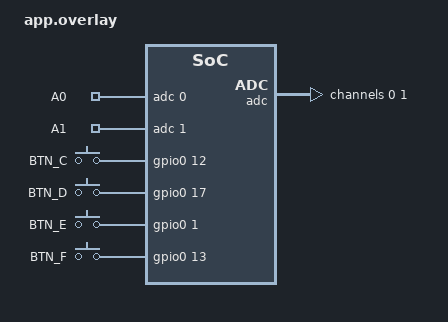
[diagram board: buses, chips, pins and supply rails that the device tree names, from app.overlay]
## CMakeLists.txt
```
#
# Copyright (c) 2018 Nordic Semiconductor
#
# SPDX-License-Identifier: LicenseRef-Nordic-5-Clause
#

cmake_minimum_required(VERSION 3.20.0)

find_package(Zephyr REQUIRED HINTS $ENV{ZEPHYR_BASE})
project(peripheral_uart)

# NORDIC SDK APP START
target_sources(app PRIVATE
  src/main.c
)
# NORDIC SDK APP END

zephyr_library_include_directories(.)
```

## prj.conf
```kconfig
#
# Copyright (c) 2018 Nordic Semiconductor
#
# SPDX-License-Identifier: LicenseRef-Nordic-5-Clause
#

# Enable the UART driver
CONFIG_UART_ASYNC_API=y
CONFIG_NRFX_UARTE0=y
CONFIG_SERIAL=y

CONFIG_GPIO=y

# Make sure printk is printing to the UART console
CONFIG_CONSOLE=y
CONFIG_UART_CONSOLE=y

CONFIG_HEAP_MEM_POOL_SIZE=2048

CONFIG_BT=y
CONFIG_BT_PERIPHERAL=y
CONFIG_BT_DEVICE_NAME="Nordic_UART_Service"
CONFIG_BT_MAX_CONN=1
CONFIG_BT_MAX_PAIRED=1

# Enable the NUS service
CONFIG_BT_NUS=y

# Enable bonding
CONFIG_BT_SETTINGS=y
CONFIG_FLASH=y
CONFIG_FLASH_PAGE_LAYOUT=y
CONFIG_FLASH_MAP=y
CONFIG_NVS=y
CONFIG_SETTINGS=y

# Enable DK LED and Buttons library
CONFIG_DK_LIBRARY=y

# This example requires more stack
CONFIG_MAIN_STACK_SIZE=1152
CONFIG_SYSTEM_WORKQUEUE_STACK_SIZE=2048

# Config logger
CONFIG_LOG=y
CONFIG_USE_SEGGER_RTT=y
CONFIG_LOG_BACKEND_RTT=y
CONFIG_LOG_BACKEND_UART=n
CONFIG_LOG_PRINTK=n

CONFIG_ASSERT=y

CONFIG_ADC=y
```

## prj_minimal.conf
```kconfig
#
# Copyright (c) 2021 Nordic Semiconductor
#
# SPDX-License-Identifier: LicenseRef-Nordic-5-Clause
#

# Enable the UART driver
CONFIG_UART_ASYNC_API=y
CONFIG_NRFX_UARTE0=y
CONFIG_SERIAL=y

CONFIG_HEAP_MEM_POOL_SIZE=2048

CONFIG_BT=y
CONFIG_BT_PERIPHERAL=y
CONFIG_BT_DEVICE_NAME="Nordic_UART_Service"
CONFIG_BT_DEVICE_APPEARANCE=833
CONFIG_BT_MAX_CONN=1
CONFIG_BT_MAX_PAIRED=1

# Enable the NUS service
CONFIG_BT_NUS=y

# Enable bonding
CONFIG_BT_SETTINGS=y
CONFIG_FLASH=y
CONFIG_FLASH_PAGE_LAYOUT=y
CONFIG_FLASH_MAP=y
CONFIG_NVS=y
CONFIG_SETTINGS=y

# Enable DK LED and Buttons library
CONFIG_DK_LIBRARY=y

# Drivers and peripherals
CONFIG_I2C=n
CONFIG_WATCHDOG=n
CONFIG_SPI=n
CONFIG_GPIO=n

# Power management

# Interrupts
CONFIG_DYNAMIC_INTERRUPTS=n
CONFIG_IRQ_OFFLOAD=n

# Memory protection
CONFIG_THREAD_STACK_INFO=n
CONFIG_THREAD_CUSTOM_DATA=n
CONFIG_FPU=n

# Boot
CONFIG_BOOT_BANNER=n
CONFIG_BOOT_DELAY=0

# Console
CONFIG_CONSOLE=n
CONFIG_UART_CONSOLE=n
CONFIG_STDOUT_CONSOLE=n
CONFIG_PRINTK=n
CONFIG_EARLY_CONSOLE=n

# Build
CONFIG_SIZE_OPTIMIZATIONS=y

# ARM
CONFIG_ARM_MPU=n

# Enable the following configurations to monitor and tune thread stack sizes
# CONFIG_THREAD_NAME=y
# CONFIG_THREAD_ANALYZER=y
# CONFIG_THREAD_ANALYZER_AUTO=y
# CONFIG_THREAD_ANALYZER_RUN_UNLOCKED=y
# CONFIG_THREAD_ANALYZER_USE_PRINTK=y
# CONFIG_CONSOLE=y
# CONFIG_UART_CONSOLE=y
# CONFIG_SERIAL=y
# CONFIG_PRINTK=y

# Thread stack sizes
CONFIG_BT_RX_STACK_SIZE=1024
CONFIG_BT_HCI_TX_STACK_SIZE_WITH_PROMPT=y
CONFIG_BT_HCI_TX_STACK_SIZE=640
CONFIG_SYSTEM_WORKQUEUE_STACK_SIZE=1536
CONFIG_MPSL_WORK_STACK_SIZE=256
CONFIG_MAIN_STACK_SIZE=864
CONFIG_IDLE_STACK_SIZE=128
CONFIG_ISR_STACK_SIZE=1024
CONFIG_BT_NUS_THREAD_STACK_SIZE=512

# Disable features not needed
CONFIG_TIMESLICING=n
CONFIG_MINIMAL_LIBC_MALLOC=n
CONFIG_LOG=n
CONFIG_ASSERT=n

# Disable Bluetooth features not needed
CONFIG_BT_DEBUG_NONE=y
CONFIG_BT_ASSERT=n
CONFIG_BT_DATA_LEN_UPDATE=n
CONFIG_BT_PHY_UPDATE=n
CONFIG_BT_GATT_CACHING=n
CONFIG_BT_GATT_SERVICE_CHANGED=n
CONFIG_BT_GAP_PERIPHERAL_PREF_PARAMS=n
CONFIG_BT_SETTINGS_CCC_LAZY_LOADING=y
CONFIG_BT_HCI_VS_EXT=n

# Disable Bluetooth controller features not needed
CONFIG_BT_CTLR_PRIVACY=n
CONFIG_BT_CTLR_PHY_2M=n

# Reduce Bluetooth buffers
CONFIG_BT_BUF_EVT_DISCARDABLE_COUNT=1
CONFIG_BT_BUF_EVT_DISCARDABLE_SIZE=43
CONFIG_BT_BUF_EVT_RX_COUNT=2

CONFIG_BT_CONN_TX_MAX=2
CONFIG_BT_L2CAP_TX_BUF_COUNT=2
CONFIG_BT_BUF_ACL_TX_COUNT=3
CONFIG_BT_BUF_ACL_TX_SIZE=27

CONFIG_ADC=y
```

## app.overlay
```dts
/*
 * Copyright (c) 2022 Nordic Semiconductor ASA
 *
 * SPDX-License-Identifier: LicenseRef-Nordic-5-Clause
 */

/ {
    chosen {
        nordic,nus-uart = &uart0;
    };

    zephyr,user {
        io-channels = <&adc 0>, <&adc 1>;
        io-channel-names = "A0", "A1";
    };

    gpio_keys {
        buttonC {
            label = "BTN_C";
            gpios = <&gpio0 12 GPIO_PULL_UP>;
            zephyr,code = <INPUT_KEY_C>;
        };

        buttonD {
            label = "BTN_D";
            gpios = <&gpio0 17 GPIO_PULL_UP>;
            zephyr,code = <INPUT_KEY_D>;
        };

        buttonE {
            label = "BTN_E";
            gpios = <&gpio0 1 GPIO_PULL_UP>;
            zephyr,code = <INPUT_KEY_E>;
        };

        buttonF {
            label = "BTN_F";
            gpios = <&gpio0 13 GPIO_PULL_UP>;
            zephyr,code = <INPUT_KEY_F>;
        };
    };
};

&adc {
    #address-cells = <1>;
    #size-cells = <0>;
    status = "okay";

    channel@0 {
        reg = <0>;
        zephyr,gain = "ADC_GAIN_1_6";
        zephyr,reference = "ADC_REF_INTERNAL";
        zephyr,acquisition-time = <ADC_ACQ_TIME_DEFAULT>;
        zephyr,input-positive = <NRF_SAADC_AIN1>;
        zephyr,resolution = <10>;
    };

    channel@1 {
        reg = <1>;
        zephyr,gain = "ADC_GAIN_1_6";
        zephyr,reference = "ADC_REF_INTERNAL";
        zephyr,acquisition-time = <ADC_ACQ_TIME_DEFAULT>;
        zephyr,input-positive = <NRF_SAADC_AIN2>;
        zephyr,resolution = <10>;
    };
};
```

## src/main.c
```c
/*
 * Copyright (c) 2018 Nordic Semiconductor ASA
 *
 * SPDX-License-Identifier: LicenseRef-Nordic-5-Clause
 */

/**
 * @file
 * @brief Nordic UART Bridge Service (NUS) sample
 */

#include <zephyr/types.h>
#include <zephyr/kernel.h>
#include <zephyr/drivers/uart.h>
#include <zephyr/usb/usb_device.h>

#include <zephyr/device.h>
#include <zephyr/devicetree.h>
#include <soc.h>

#include <zephyr/bluetooth/bluetooth.h>
#include <zephyr/bluetooth/uuid.h>
#include <zephyr/bluetooth/gatt.h>
#include <zephyr/bluetooth/hci.h>

#include <bluetooth/services/nus.h>

#include <dk_buttons_and_leds.h>

#include <zephyr/settings/settings.h>

#include <stdio.h>

#include <zephyr/logging/log.h>

#include <zephyr/drivers/adc.h>
#include <zephyr/drivers/gpio.h>

#define LOG_MODULE_NAME peripheral_uart
LOG_MODULE_REGISTER(LOG_MODULE_NAME);

#define STACKSIZE CONFIG_BT_NUS_THREAD_STACK_SIZE
#define PRIORITY 7

#define DEVICE_NAME CONFIG_BT_DEVICE_NAME
#define DEVICE_NAME_LEN (sizeof(DEVICE_NAME) - 1)

#define RUN_STATUS_LED DK_LED1
#define RUN_LED_BLINK_INTERVAL 1000

#define CON_STATUS_LED DK_LED2

#define KEY_PASSKEY_ACCEPT DK_BTN1_MSK
#define KEY_PASSKEY_REJECT DK_BTN2_MSK

#define UART_BUF_SIZE CONFIG_BT_NUS_UART_BUFFER_SIZE
#define UART_WAIT_FOR_BUF_DELAY K_MSEC(50)
#define UART_WAIT_FOR_RX CONFIG_BT_NUS_UART_RX_WAIT_TIME

static K_SEM_DEFINE(ble_init_ok, 0, 1);

static struct bt_conn *current_conn;
static struct bt_conn *auth_conn;

static const struct device *uart = DEVICE_DT_GET(DT_CHOSEN(nordic_nus_uart));
static struct k_work_delayable uart_work;

struct uart_data_t
{
    uint8_t data[UART_BUF_SIZE];
    uint16_t len;
};

static K_FIFO_DEFINE(fifo_uart_tx_data);
static K_FIFO_DEFINE(fifo_uart_rx_data);

static const struct bt_data ad[] = {
    BT_DATA_BYTES(BT_DATA_FLAGS, (BT_LE_AD_GENERAL | BT_LE_AD_NO_BREDR)),
    BT_DATA(BT_DATA_NAME_COMPLETE, DEVICE_NAME, DEVICE_NAME_LEN),
};

static const struct bt_data sd[] = {
    BT_DATA_BYTES(BT_DATA_UUID128_ALL, BT_UUID_NUS_VAL),
};

#if CONFIG_BT_NUS_UART_ASYNC_ADAPTER
UART_ASYNC_ADAPTER_INST_DEFINE(async_adapter);
#else
static const struct device *const async_adapter;
#endif

static void uart_cb(const struct device *dev, struct uart_event *evt, void *user_data)
{
    ARG_UNUSED(dev);

    static size_t aborted_len;
    struct uart_data_t *buf;
    static uint8_t *aborted_buf;
    static bool disable_req;

    switch (evt->type)
    {
    case UART_TX_DONE:
        LOG_DBG("UART_TX_DONE");
        if ((evt->data.tx.len == 0) ||
            (!evt->data.tx.buf))
        {
            return;
        }

        if (aborted_buf)
        {
            buf = CONTAINER_OF(aborted_buf, struct uart_data_t,
                               data[0]);
            aborted_buf = NULL;
            aborted_len = 0;
        }
        else
        {
            buf = CONTAINER_OF(evt->data.tx.buf, struct uart_data_t,
                               data[0]);
        }

        k_free(buf);

        buf = k_fifo_get(&fifo_uart_tx_data, K_NO_WAIT);
        if (!buf)
        {
            return;
        }

        if (uart_tx(uart, buf->data, buf->len, SYS_FOREVER_MS))
        {
            LOG_WRN("Failed to send data over UART");
        }

        break;

    case UART_RX_RDY:
        LOG_DBG("UART_RX_RDY");
        buf = CONTAINER_OF(evt->data.rx.buf, struct uart_data_t, data[0]);
        buf->len += evt->data.rx.len;

        if (disable_req)
        {
            return;
        }

        if ((evt->data.rx.buf[buf->len - 1] == '\n') ||
            (evt->data.rx.buf[buf->len - 1] == '\r'))
        {
            disable_req = true;
            uart_rx_disable(uart);
        }

        break;

    case UART_RX_DISABLED:
        LOG_DBG("UART_RX_DISABLED");
        disable_req = false;

        buf = k_malloc(sizeof(*buf));
        if (buf)
        {
            buf->len = 0;
        }
        else
        {
            LOG_WRN("Not able to allocate UART receive buffer");
            k_work_reschedule(&uart_work, UART_WAIT_FOR_BUF_DELAY);
            return;
        }

        uart_rx_enable(uart, buf->data, sizeof(buf->data),
                       UART_WAIT_FOR_RX);

        break;

    case UART_RX_BUF_REQUEST:
        LOG_DBG("UART_RX_BUF_REQUEST");
        buf = k_malloc(sizeof(*buf));
        if (buf)
        {
            buf->len = 0;
            uart_rx_buf_rsp(uart, buf->data, sizeof(buf->data));
        }
        else
        {
            LOG_WRN("Not able to allocate UART receive buffer");
        }

        break;

    case UART_RX_BUF_RELEASED:
        LOG_DBG("UART_RX_BUF_RELEASED");
        buf = CONTAINER_OF(evt->data.rx_buf.buf, struct uart_data_t,
                           data[0]);

        if (buf->len > 0)
        {
            k_fifo_put(&fifo_uart_rx_data, buf);
        }
        else
        {
            k_free(buf);
        }

        break;

    case UART_TX_ABORTED:
        LOG_DBG("UART_TX_ABORTED");
        if (!aborted_buf)
        {
            aborted_buf = (uint8_t *)evt->data.tx.buf;
        }

        aborted_len += evt->data.tx.len;
        buf = CONTAINER_OF((void *)aborted_buf, struct uart_data_t,
                           data);

        uart_tx(uart, &buf->data[aborted_len],
                buf->len - aborted_len, SYS_FOREVER_MS);

        break;

    default:
        break;
    }
}

static void uart_work_handler(struct k_work *item)
{
    struct uart_data_t *buf;

    buf = k_malloc(sizeof(*buf));
    if (buf)
    {
        buf->len = 0;
    }
    else
    {
        LOG_WRN("Not able to allocate UART receive buffer");
        k_work_reschedule(&uart_work, UART_WAIT_FOR_BUF_DELAY);
        return;
    }

    uart_rx_enable(uart, buf->data, sizeof(buf->data), UART_WAIT_FOR_RX);
}

static bool uart_test_async_api(const struct device *dev)
{
    const struct uart_driver_api *api =
        (const struct uart_driver_api *)dev->api;

    return (api->callback_set != NULL);
}

static int uart_init(void)
{
    int err;
    struct uart_data_t *rx;
    struct uart_data_t *tx;

    if (!device_is_ready(uart))
    {
        return -ENODEV;
    }

    if (IS_ENABLED(CONFIG_USB_DEVICE_STACK))
    {
        err = usb_enable(NULL);
        if (err && (err != -EALREADY))
        {
            LOG_ERR("Failed to enable USB");
            return err;
        }
    }

    rx = k_malloc(sizeof(*rx));
    if (rx)
    {
        rx->len = 0;
    }
    else
    {
        return -ENOMEM;
    }

    k_work_init_delayable(&uart_work, uart_work_handler);

    if (IS_ENABLED(CONFIG_BT_NUS_UART_ASYNC_ADAPTER) && !uart_test_async_api(uart))
    {
        /* Implement API adapter */
        uart_async_adapter_init(async_adapter, uart);
        uart = async_adapter;
    }

    err = uart_callback_set(uart, uart_cb, NULL);
    if (err)
    {
        k_free(rx);
        LOG_ERR("Cannot initialize UART callback");
        return err;
    }

    if (IS_ENABLED(CONFIG_UART_LINE_CTRL))
    {
        LOG_INF("Wait for DTR");
        while (true)
        {
            uint32_t dtr = 0;

            uart_line_ctrl_get(uart, UART_LINE_CTRL_DTR, &dtr);
            if (dtr)
            {
                break;
            }
            /* Give CPU resources to low priority threads */
            k_sleep(K_MSEC(100));
        }
        LOG_INF("DTR set");
        err = uart_line_ctrl_set(uart, UART_LINE_CTRL_DCD, 1);
        if (err)
        {
            LOG_WRN("Failed to set DCD, ret code %d", err);
        }
        err = uart_line_ctrl_set(uart, UART_LINE_CTRL_DSR, 1);
        if (err)
        {
            LOG_WRN("Failed to set DSR, ret code %d", err);
        }
    }

    tx = k_malloc(sizeof(*tx));

    if (tx)
    {
        int pos;
        pos = snprintf(tx->data, sizeof(tx->data),
                       "Starting Nordic UART service example\r\n");

        if ((pos < 0) || (pos >= sizeof(tx->data)))
        {
            k_free(rx);
            k_free(tx);
            LOG_ERR("snprintf returned %d", pos);
            return -ENOMEM;
        }

        tx->len = pos;
    }
    else
    {
        k_free(rx);
        return -ENOMEM;
    }

    err = uart_tx(uart, tx->data, tx->len, SYS_FOREVER_MS);
    if (err)
    {
        k_free(rx);
        k_free(tx);
        LOG_ERR("Cannot display welcome message (err: %d)", err);
        return err;
    }

    err = uart_rx_enable(uart, rx->data, sizeof(rx->data), UART_WAIT_FOR_RX);
    if (err)
    {
        LOG_ERR("Cannot enable uart reception (err: %d)", err);
        /*
         * Free the rx buffer only because the tx buffer will be handled in the
         * callback
         */
        k_free(rx);
    }

    return err;
}

static void connected(struct bt_conn *conn, uint8_t err)
{
    char addr[BT_ADDR_LE_STR_LEN];

    if (err)
    {
        LOG_ERR("Connection failed (err %u)", err);
        return;
    }

    bt_addr_le_to_str(bt_conn_get_dst(conn), addr, sizeof(addr));
    LOG_INF("Connected %s", addr);

    current_conn = bt_conn_ref(conn);

    dk_set_led_on(CON_STATUS_LED);
}

static void disconnected(struct bt_conn *conn, uint8_t reason)
{
    char addr[BT_ADDR_LE_STR_LEN];

    bt_addr_le_to_str(bt_conn_get_dst(conn), addr, sizeof(addr));

    LOG_INF("Disconnected: %s (reason %u)", addr, reason);

    if (auth_conn)
    {
        bt_conn_unref(auth_conn);
        auth_conn = NULL;
    }

    if (current_conn)
    {
        bt_conn_unref(current_conn);
        current_conn = NULL;
        dk_set_led_off(CON_STATUS_LED);
    }
}

#ifdef CONFIG_BT_NUS_SECURITY_ENABLED
static void security_changed(struct bt_conn *conn, bt_security_t level,
                             enum bt_security_err err)
{
    char addr[BT_ADDR_LE_STR_LEN];

    bt_addr_le_to_str(bt_conn_get_dst(conn), addr, sizeof(addr));

    if (!err)
    {
        LOG_INF("Security changed: %s level %u", addr, level);
    }
    else
    {
        LOG_WRN("Security failed: %s level %u err %d", addr,
                level, err);
    }
}
#endif

BT_CONN_CB_DEFINE(conn_callbacks) = {
    .connected = connected,
    .disconnected = disconnected,
#ifdef CONFIG_BT_NUS_SECURITY_ENABLED
    .security_changed = security_changed,
#endif
};

#if defined(CONFIG_BT_NUS_SECURITY_ENABLED)
static void auth_passkey_display(struct bt_conn *conn, unsigned int passkey)
{
    char addr[BT_ADDR_LE_STR_LEN];

    bt_addr_le_to_str(bt_conn_get_dst(conn), addr, sizeof(addr));

    LOG_INF("Passkey for %s: %06u", addr, passkey);
}

static void auth_passkey_confirm(struct bt_conn *conn, unsigned int passkey)
{
    char addr[BT_ADDR_LE_STR_LEN];

    auth_conn = bt_conn_ref(conn);

    bt_addr_le_to_str(bt_conn_get_dst(conn), addr, sizeof(addr));

    LOG_INF("Passkey for %s: %06u", addr, passkey);
    LOG_INF("Press Button 1 to confirm, Button 2 to reject.");
}

static void auth_cancel(struct bt_conn *conn)
{
    char addr[BT_ADDR_LE_STR_LEN];

    bt_addr_le_to_str(bt_conn_get_dst(conn), addr, sizeof(addr));

    LOG_INF("Pairing cancelled: %s", addr);
}

static void pairing_complete(struct bt_conn *conn, bool bonded)
{
    char addr[BT_ADDR_LE_STR_LEN];

    bt_addr_le_to_str(bt_conn_get_dst(conn), addr, sizeof(addr));

    LOG_INF("Pairing completed: %s, bonded: %d", addr, bonded);
}

static void pairing_failed(struct bt_conn *conn, enum bt_security_err reason)
{
    char addr[BT_ADDR_LE_STR_LEN];

    bt_addr_le_to_str(bt_conn_get_dst(conn), addr, sizeof(addr));

    LOG_INF("Pairing failed conn: %s, reason %d", addr, reason);
}

static struct bt_conn_auth_cb conn_auth_callbacks = {
    .passkey_display = auth_passkey_display,
    .passkey_confirm = auth_passkey_confirm,
    .cancel = auth_cancel,
};

static struct bt_conn_auth_info_cb conn_auth_info_callbacks = {
    .pairing_complete = pairing_complete,
    .pairing_failed = pairing_failed};
#else
static struct bt_conn_auth_cb conn_auth_callbacks;
static struct bt_conn_auth_info_cb conn_auth_info_callbacks;
#endif

static void bt_receive_cb(struct bt_conn *conn, const uint8_t *const data,
                          uint16_t len)
{
    char addr[BT_ADDR_LE_STR_LEN] = {0};

    bt_addr_le_to_str(bt_conn_get_dst(conn), addr, ARRAY_SIZE(addr));

    LOG_INF("Received data from: %s", addr);

    for (uint16_t pos = 0; pos != len;)
    {
        int err;
        struct uart_data_t *tx = k_malloc(sizeof(*tx));

        if (!tx)
        {
            LOG_WRN("Not able to allocate UART send data buffer");
            return;
        }

        /* Keep the last byte of TX buffer for potential LF char */
        size_t tx_data_size = sizeof(tx->data) - 1;

        if ((len - pos) > tx_data_size)
        {
            tx->len = tx_data_size;
        }
        else
        {
            tx->len = (len - pos);
        }

        memcpy(tx->data, &data[pos], tx->len);

        pos += tx->len;

        /*
         * Append the LF character when the CR character triggered transmission
         * from the peer
         */
        if ((pos == len) && (data[len - 1] == '\r'))
        {
            tx->data[tx->len] = '\n';
            tx->len++;
        }

        err = uart_tx(uart, tx->data, tx->len, SYS_FOREVER_MS);
        if (err)
        {
            k_fifo_put(&fifo_uart_tx_data, tx);
        }
    }
}

static struct bt_nus_cb nus_cb = {
    .received = bt_receive_cb,
};

void error(void)
{
    dk_set_leds_state(DK_ALL_LEDS_MSK, DK_NO_LEDS_MSK);

    while (true)
    {
        /* Spin for ever */
        k_sleep(K_MSEC(1000));
    }
}

#ifdef CONFIG_BT_NUS_SECURITY_ENABLED
static void num_comp_reply(bool accept)
{
    if (accept)
    {
        bt_conn_auth_passkey_confirm(auth_conn);
        LOG_INF("Numeric Match, conn %p", (void *)auth_conn);
    }
    else
    {
        bt_conn_auth_cancel(auth_conn);
        LOG_INF("Numeric Reject, conn %p", (void *)auth_conn);
    }

    bt_conn_unref(auth_conn);
    auth_conn = NULL;
}

void button_changed(uint32_t button_state, uint32_t has_changed)
{
    uint32_t buttons = button_state & has_changed;

    if (auth_conn)
    {
        if (buttons & KEY_PASSKEY_ACCEPT)
        {
            num_comp_reply(true);
        }

        if (buttons & KEY_PASSKEY_REJECT)
        {
            num_comp_reply(false);
        }
    }
}
#endif /* CONFIG_BT_NUS_SECURITY_ENABLED */

static void configure_gpio(void)
{
    int err;

#ifdef CONFIG_BT_NUS_SECURITY_ENABLED
    err = dk_buttons_init(button_changed);
    if (err)
    {
        LOG_ERR("Cannot init buttons (err: %d)", err);
    }
#endif

    err = dk_leds_init();
    if (err)
    {
        LOG_ERR("Cannot init LEDs (err: %d)", err);
    }
}

static const struct adc_dt_spec adc_chan0 =
    ADC_DT_SPEC_GET_BY_IDX(DT_PATH(zephyr_user), 0);
static const struct adc_dt_spec adc_chan1 =
    ADC_DT_SPEC_GET_BY_IDX(DT_PATH(zephyr_user), 1);

int setup_adc_channel(const struct adc_dt_spec *adc_spec)
{
    int err;

    /* STEP 3.3 - validate that the ADC peripheral (SAADC) is ready */
    if (!adc_is_ready_dt(adc_spec))
    {
        LOG_ERR("ADC controller devivce %s not ready", adc_spec->dev->name);
        return -1;
    }
    /* STEP 3.4 - Setup the ADC channel */
    err = adc_channel_setup_dt(adc_spec);
    if (err < 0)
    {
        LOG_ERR("Could not setup channel #%d (%d)", adc_spec->channel_id, err);
        return err;
    }

    return 0;
}

int initialize_adc_sequence(const struct adc_dt_spec *adc_spec,
                            struct adc_sequence *sequence)
{
    int err;

    /* STEP 4.2 - Initialize the ADC sequence */
    err = adc_sequence_init_dt(adc_spec, sequence);
    if (err < 0)
    {
        LOG_ERR("Could not initalize sequnce");
        return err;
    }

    return 0;
}

#define BUTTON_A_PIN 14
#define BUTTON_B_PIN 23
#define BUTTON_C_PIN 12
#define BUTTON_D_PIN 17
#define BUTTON_E_PIN 1
#define BUTTON_F_PIN 13
int input_button_pins[] = {BUTTON_A_PIN, BUTTON_B_PIN};
int pullup_button_pins[] = {BUTTON_C_PIN, BUTTON_D_PIN, BUTTON_E_PIN, BUTTON_F_PIN};
static const struct device *gpio0 = DEVICE_DT_GET(DT_NODELABEL(gpio0));

int initialize_buttons()
{
    int err;

    for (int i = 0; i < sizeof(input_button_pins) / sizeof(input_button_pins[0]); i++)
    {
        err = gpio_pin_configure(gpio0, input_button_pins[i], GPIO_INPUT);
        if (err)
        {
            LOG_ERR("Error configuring pin %d", input_button_pins[i]);
            return err;
        }
    }

    for (int i = 0; i < sizeof(pullup_button_pins) / sizeof(pullup_button_pins[0]); i++)
    {
        err = gpio_pin_configure(gpio0, pullup_button_pins[i], GPIO_INPUT | GPIO_PULL_UP);
        if (err)
        {
            LOG_ERR("Error configuring pin %d", pullup_button_pins[i]);
            return err;
        }
    }

    return 0;
}

int is_button_A_pressed() { return gpio_pin_get(gpio0, BUTTON_A_PIN); }
int is_button_B_pressed() { return gpio_pin_get(gpio0, BUTTON_B_PIN); }
int is_button_C_pressed() { return gpio_pin_get(gpio0, BUTTON_C_PIN); }
int is_button_D_pressed() { return gpio_pin_get(gpio0, BUTTON_D_PIN); }
int is_button_E_pressed() { return gpio_pin_get(gpio0, BUTTON_E_PIN); }
int is_button_F_pressed() { return gpio_pin_get(gpio0, BUTTON_F_PIN); }

int main(void)
{
    int blink_status = 0;
    int err = 0;

    configure_gpio();

    err = uart_init();
    if (err)
    {
        error();
    }

    if (IS_ENABLED(CONFIG_BT_NUS_SECURITY_ENABLED))
    {
        err = bt_conn_auth_cb_register(&conn_auth_callbacks);
        if (err)
        {
            printk("Failed to register authorization callbacks.\n");
            return 0;
        }

        err = bt_conn_auth_info_cb_register(&conn_auth_info_callbacks);
        if (err)
        {
            printk("Failed to register authorization info callbacks.\n");
            return 0;
        }
    }

    err = bt_enable(NULL);
    if (err)
    {
        error();
    }

    LOG_INF("Bluetooth initialized");

    k_sem_give(&ble_init_ok);

    if (IS_ENABLED(CONFIG_SETTINGS))
    {
        settings_load();
    }

    err = bt_nus_init(&nus_cb);
    if (err)
    {
        LOG_ERR("Failed to initialize UART service (err: %d)", err);
        return 0;
    }

    err = bt_le_adv_start(BT_LE_ADV_CONN, ad, ARRAY_SIZE(ad), sd,
                          ARRAY_SIZE(sd));
    if (err)
    {
        LOG_ERR("Advertising failed to start (err %d)", err);
        return 0;
    }

    /*
     * STEP 4.1 - Define a variable of type adc_sequence and a buffer of type
     * uint16_t
     */
    int16_t adc_buf0;
    struct adc_sequence sequence0 = {
        .buffer = &adc_buf0,
        /* Buffer size in bytes, not number of samples */
        .buffer_size = sizeof(adc_buf0),
    };

    int16_t adc_buf1;
    struct adc_sequence sequence1 = {
        .buffer = &adc_buf1,
        .buffer_size = sizeof(adc_buf1),
    };

    err = setup_adc_channel(&adc_chan0);
    if (err < 0)
    {
        return err;
    }
    err = setup_adc_channel(&adc_chan1);
    if (err < 0)
    {
        return err;
    }

    err = initialize_adc_sequence(&adc_chan0, &sequence0);
    if (err < 0)
    {
        return err;
    }
    err = initialize_adc_sequence(&adc_chan1, &sequence1);
    if (err < 0)
    {
        return err;
    }

    err = initialize_buttons();
    if (err < 0)
    {
        return err;
    }

    for (;;)
    {
        dk_set_led(RUN_STATUS_LED, (++blink_status) % 2);
        k_sleep(K_MSEC(RUN_LED_BLINK_INTERVAL));

        /* Don't go any further until BLE is initialized */
        k_sem_take(&ble_init_ok, K_FOREVER);

        for (;;)
        {
            char buf[sizeof(adc_buf0) + sizeof(adc_buf1) + 6 * sizeof(bool)];

            err = adc_read(adc_chan0.dev, &sequence0);
            if (err < 0)
            {
                LOG_ERR("Could not read ADC (%d)", err);
                continue;
            }

            err = adc_read(adc_chan1.dev, &sequence1);
            if (err < 0)
            {
                LOG_ERR("Could not read ADC (%d)", err);
                continue;
            }

            /* Fill buff (Little Endian) */
            size_t offset = 0;
            memcpy(buf, &adc_buf0, sizeof(adc_buf0));
            offset += sizeof(adc_buf0);
            memcpy(buf + offset, &adc_buf1, sizeof(adc_buf1));
            offset += sizeof(adc_buf1);

            buf[offset] = is_button_A_pressed();
            offset += sizeof(bool);
            buf[offset] = is_button_B_pressed();
            offset += sizeof(bool);
            buf[offset] = is_button_C_pressed();
            offset += sizeof(bool);
            buf[offset] = is_button_D_pressed();
            offset += sizeof(bool);
            buf[offset] = is_button_E_pressed();
            offset += sizeof(bool);
            buf[offset] = is_button_F_pressed();
            offset += sizeof(bool);

            if (bt_nus_send(NULL, buf, offset))
            {
                LOG_WRN("Failed to send data over BLE connection");
            }

            k_sleep(K_MSEC(50));
        }
    }
}
```
